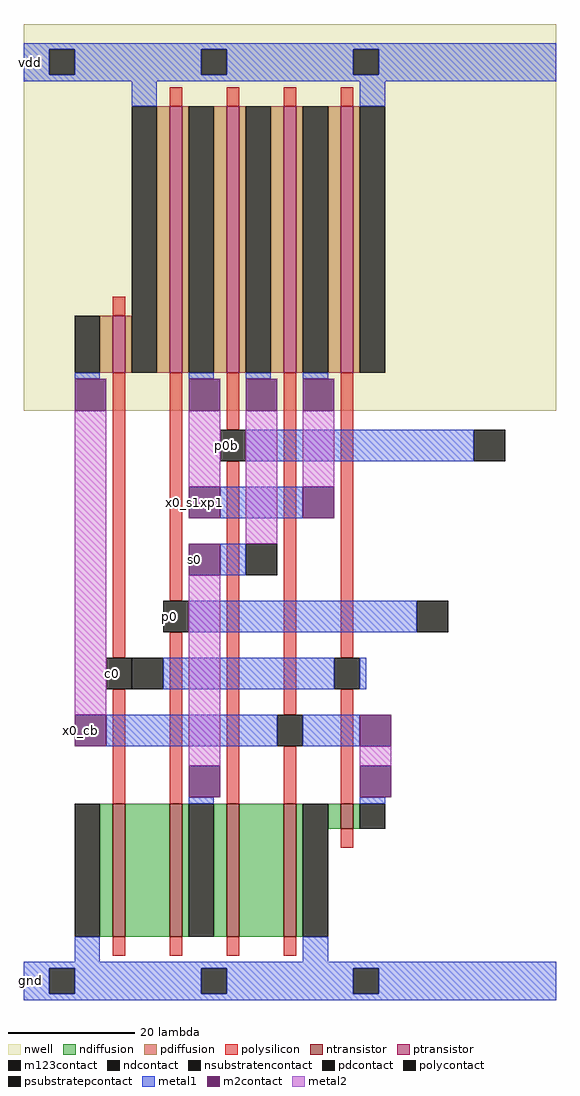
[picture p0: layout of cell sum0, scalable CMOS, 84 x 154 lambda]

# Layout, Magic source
magic
tech scmos
<< nwell >>
rect 0 93 84 154
<< ntransistor >>
rect 14 10 16 31
rect 23 10 25 31
rect 32 10 34 31
rect 41 10 43 31
rect 50 27 52 31
<< ptransistor >>
rect 14 99 16 108
rect 23 99 25 141
rect 32 99 34 141
rect 41 99 43 141
rect 50 99 52 141
<< ndiffusion >>
rect 12 10 14 31
rect 16 10 23 31
rect 25 10 26 31
rect 30 10 32 31
rect 34 10 41 31
rect 43 10 44 31
rect 48 27 50 31
rect 52 27 53 31
<< pdiffusion >>
rect 12 99 14 108
rect 16 99 17 108
rect 21 99 23 141
rect 25 99 26 141
rect 30 99 32 141
rect 34 99 35 141
rect 39 99 41 141
rect 43 99 44 141
rect 48 99 50 141
rect 52 99 53 141
<< ndcontact >>
rect 8 10 12 31
rect 26 10 30 31
rect 44 10 48 31
rect 53 27 57 31
<< pdcontact >>
rect 8 99 12 108
rect 17 99 21 141
rect 26 99 30 141
rect 35 99 39 141
rect 44 99 48 141
rect 53 99 57 141
<< psubstratepcontact >>
rect 4 1 8 5
rect 28 1 32 5
rect 52 1 56 5
<< nsubstratencontact >>
rect 4 146 8 150
rect 28 146 32 150
rect 52 146 56 150
<< polysilicon >>
rect 23 141 25 144
rect 32 141 34 144
rect 41 141 43 144
rect 50 141 52 144
rect 14 108 16 111
rect 14 54 16 99
rect 23 63 25 99
rect 32 90 34 99
rect 14 31 16 49
rect 23 31 25 58
rect 32 31 34 85
rect 41 45 43 99
rect 50 54 52 99
rect 41 31 43 40
rect 50 31 52 49
rect 50 24 52 27
rect 14 7 16 10
rect 23 7 25 10
rect 32 7 34 10
rect 41 7 43 10
<< polycontact >>
rect 31 85 35 90
rect 22 58 26 63
rect 13 49 17 54
rect 49 49 53 54
rect 40 40 44 45
<< metal1 >>
rect 0 150 84 151
rect 0 146 4 150
rect 8 146 28 150
rect 32 146 52 150
rect 56 146 84 150
rect 0 145 84 146
rect 17 141 21 145
rect 53 141 57 145
rect 8 98 12 99
rect 26 98 30 99
rect 35 98 39 99
rect 44 98 48 99
rect 35 85 71 90
rect 31 76 44 81
rect 31 67 35 72
rect 26 58 62 63
rect 22 49 49 54
rect 53 49 54 54
rect 13 40 40 45
rect 44 40 53 45
rect 26 31 30 32
rect 53 31 57 32
rect 8 6 12 10
rect 44 6 48 10
rect 0 5 84 6
rect 0 1 4 5
rect 8 1 28 5
rect 32 1 52 5
rect 56 1 84 5
rect 0 0 84 1
<< m2contact >>
rect 8 93 13 98
rect 26 93 31 98
rect 35 93 40 98
rect 44 93 49 98
rect 26 76 31 81
rect 44 76 49 81
rect 26 67 31 72
rect 8 40 13 45
rect 53 40 58 45
rect 26 32 31 37
rect 53 32 58 37
<< metal2 >>
rect 8 45 13 93
rect 26 81 31 93
rect 35 72 40 93
rect 44 81 49 93
rect 26 37 31 67
rect 53 37 58 40
<< m123contact >>
rect 71 85 76 90
rect 35 67 40 72
rect 17 49 22 54
rect 62 58 67 63
<< labels >>
rlabel metal1 13 49 15 54 0 c0
port 1 nsew
rlabel metal1 22 58 24 63 0 p0
port 2 nsew
rlabel metal1 31 85 33 90 0 p0b
port 3 nsew
rlabel m2contact 26 67 28 72 0 s0
port 4 nsew
rlabel m2contact 8 40 10 45 0 x0_cb
rlabel m2contact 26 76 28 81 0 x0_s1xp1
rlabel metal1 0 145 2 151 0 vdd
port 5 nsew
rlabel metal1 0 0 2 6 0 gnd
port 6 nsew
<< end >>
